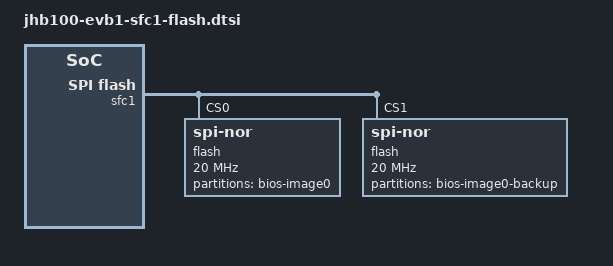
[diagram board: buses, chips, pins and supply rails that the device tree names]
// SPDX-License-Identifier: GPL-2.0 OR MIT
/*
 * Copyright (c) 2025 StarFive Technology Co., Ltd.
 */

&sfc1 {
	status = "okay";
	pinctrl-names = "default";
	pinctrl-0 = <&sfc1_pins>;

	flash@0 {
		compatible = "jedec,spi-nor";
		reg = <0>;
		spi-max-frequency = <20000000>;
		spi-tx-bus-width = <1>;
		spi-rx-bus-width = <1>;

		partitions {
			compatible = "fixed-partitions";
			#address-cells = <1>;
			#size-cells = <1>;

			partition@0 {
				label = "bios-image0";
				reg = <0x0 0x4000000>;
			};
		};
	};

	flash@1 {
		compatible = "jedec,spi-nor";
		reg = <1>;
		spi-max-frequency = <20000000>;
		spi-tx-bus-width = <1>;
		spi-rx-bus-width = <1>;

		partitions {
			compatible = "fixed-partitions";
			#address-cells = <1>;
			#size-cells = <1>;

			partition@0 {
				label = "bios-image0-backup";
				reg = <0x0 0x4000000>;
			};
		};
	};
};
